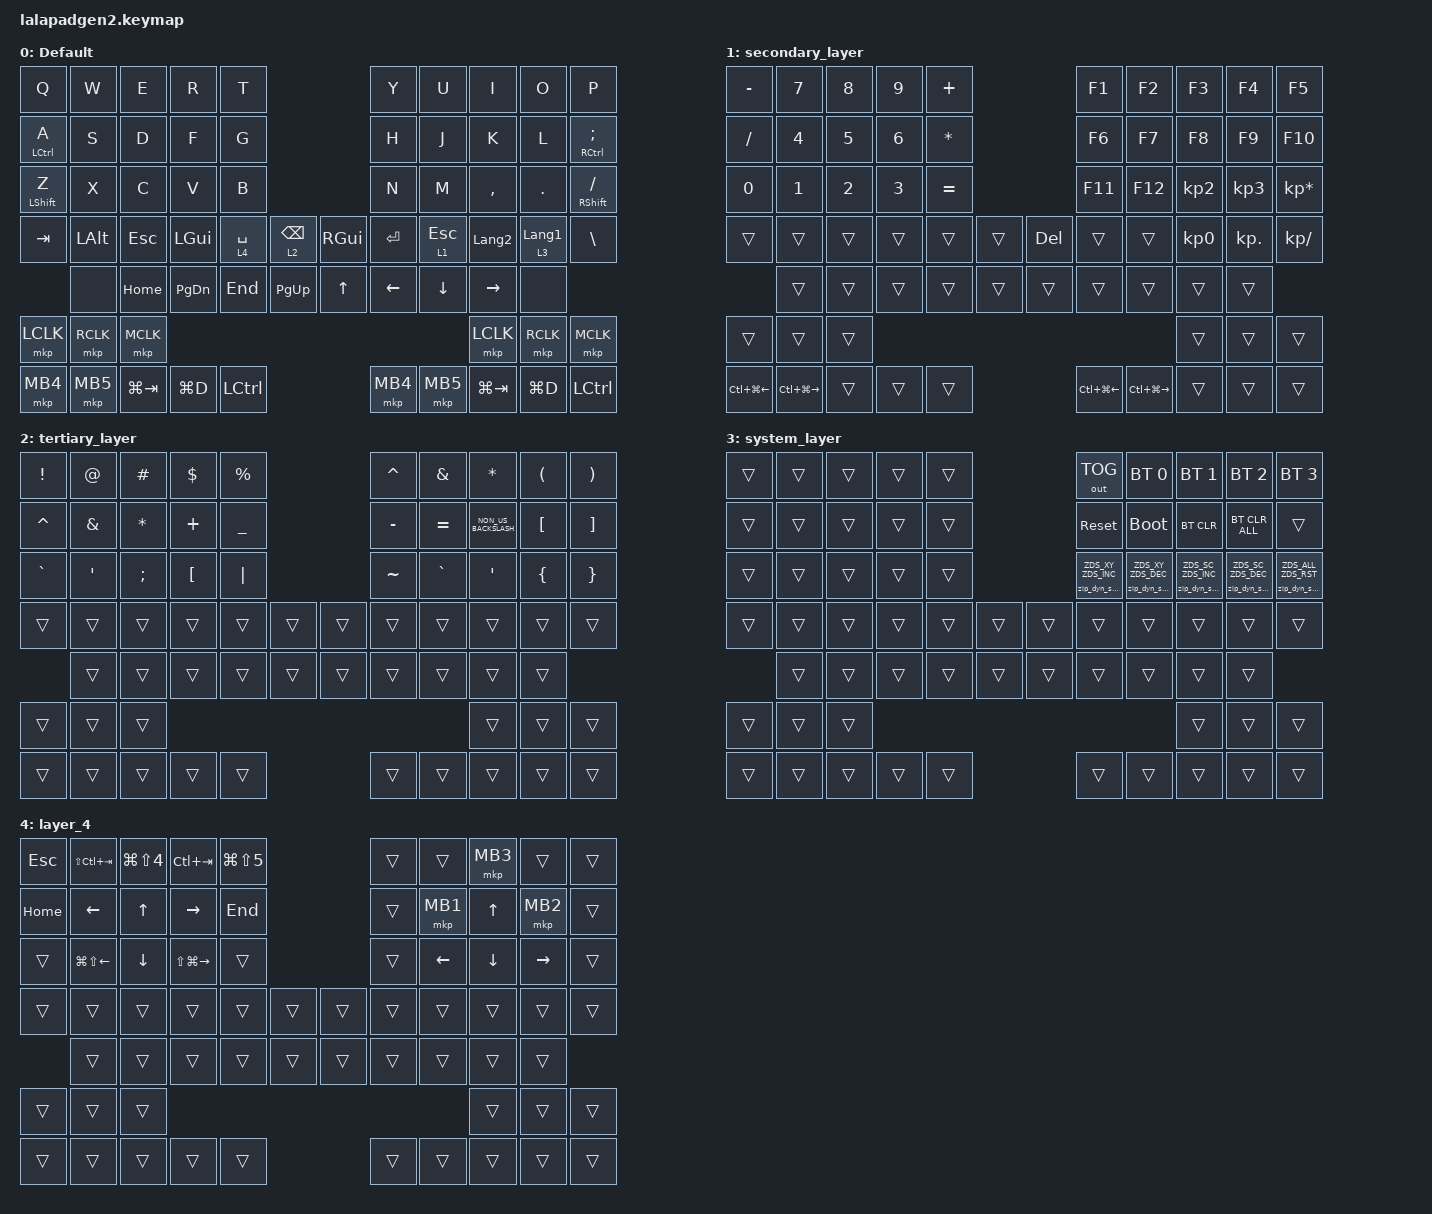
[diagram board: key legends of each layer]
#include <input/processors.dtsi>
#include <dt-bindings/zmk/zip_dynamic_scale.h>
#include <behaviors.dtsi>
#include <dt-bindings/zmk/bt.h>
#include <dt-bindings/zmk/keys.h>
#include <dt-bindings/zmk/outputs.h>
#include <dt-bindings/zmk/pointing.h>

#define DEFAULT_LAYER   0
#define SECONDARY_LAYER 1
#define TERTIARY_LAYER  2
#define SYSTEM_LAYER    3

&mt {
    tapping-term-ms = <300>;
    require-prior-idle-ms = <150>;
    flavor = "tap-preferred";
};

&lt {
    tapping-term-ms = <300>;
    require-prior-idle-ms = <150>;
    flavor = "hold-preferred";
};

/ {
    behaviors {
        zip_dyn_scale: zip_dyn_scale {
            compatible = "zmk,behavior-zip-dynamic-scale";
            #binding-cells = <2>;
        };

        zip_dyn_scale_set: zip_dyn_scale_set {
            compatible = "zmk,behavior-zip-dynamic-scale-set";
            #binding-cells = <2>;
        };

        mt2: mod_tap2 {
            compatible = "zmk,behavior-hold-tap";
            #binding-cells = <2>;
            flavor = "tap-preferred";
            tapping-term-ms = <200>;
            quick-tap-ms = <200>;
            require-prior-idle-ms = <125>;
            bindings = <&kp>, <&kp>;
        };

        tap_dance_layer_1and2: tap_dance_layer_1and2 {
            compatible = "zmk,behavior-tap-dance";
            label = "td_mo12";
            #binding-cells = <0>;
            bindings = <&mo 1>, <&mo 2>;
        };
    };

    combos {
        compatible = "zmk,combos";

        CONBO_ESC {
            bindings = <&kp ESCAPE>;
            key-positions = <0 1>;
        };

        COMBO_TAB {
            bindings = <&kp TAB>;
            key-positions = <11 12>;
        };

        S_TAB {
            bindings = <&kp LS(TAB)>;
            key-positions = <12 13>;
        };

        QT {
            bindings = <&kp SINGLE_QUOTE>;
            key-positions = <17 18>;
        };

        DQ {
            bindings = <&kp DOUBLE_QUOTES>;
            key-positions = <18 19>;
        };
    };

    keymap {
        compatible = "zmk,keymap";

        DEFAULT_LAYER {
            display-name = "Default";
            bindings = <
&kp Q              &kp W         &kp E        &kp R          &kp T                                   &kp Y      &kp U      &kp I           &kp O             &kp P
&mt LCTRL A        &kp S         &kp D        &kp F          &kp G                                   &kp H      &kp J      &kp K           &kp L             &mt RCTRL SEMICOLON
&mt2 LEFT_SHIFT Z  &kp X         &kp C        &kp V          &kp B                                   &kp N      &kp M      &kp COMMA       &kp PERIOD        &mt RIGHT_SHIFT SLASH
&kp TAB            &kp LEFT_ALT  &kp ESC      &kp LEFT_GUI   &lt 4 SPACE  &lt 2 BACKSPACE  &kp RGUI  &kp ENTER  &lt 1 ESC  &kp LANGUAGE_2  &lt 3 LANGUAGE_1  &kp BACKSLASH
                   &none         &kp HOME     &kp PAGE_DOWN  &kp END      &kp PAGE_UP      &kp UP    &kp LEFT   &kp DOWN   &kp RIGHT       &none
&mkp LCLK          &mkp RCLK     &mkp MCLK                                                                                 &mkp LCLK       &mkp RCLK         &mkp MCLK
&mkp MB4           &mkp MB5      &kp LG(TAB)  &kp LG(D)      &kp LCTRL                               &mkp MB4   &mkp MB5   &kp LG(TAB)     &kp LG(D)         &kp LCTRL
            >;
        };

        SECONDARY_LAYER {
            display-name = "secondary_layer";
            bindings = <
&kp MINUS         &kp N7             &kp N8        &kp N9        &kp PLUS                       &kp F1            &kp F2             &kp F3           &kp F4           &kp F5
&kp SLASH         &kp NUMBER_4       &kp N5        &kp NUMBER_6  &kp ASTERISK                   &kp F6            &kp F7             &kp F8           &kp F9           &kp F10
&kp N0            &kp NUMBER_1       &kp NUMBER_2  &kp NUMBER_3  &kp EQUAL                      &kp F11           &kp F12            &kp KP_NUMBER_2  &kp KP_NUMBER_3  &kp KP_ASTERISK
&trans            &trans             &trans        &trans        &trans        &trans  &kp DEL  &trans            &trans             &kp KP_NUMBER_0  &kp KP_DOT       &kp KP_DIVIDE
                  &trans             &trans        &trans        &trans        &trans  &trans   &trans            &trans             &trans           &trans
&trans            &trans             &trans                                                                                          &trans           &trans           &trans
&kp LC(LG(LEFT))  &kp LC(LG(RIGHT))  &trans        &trans        &trans                         &kp LC(LG(LEFT))  &kp LC(LG(RIGHT))  &trans           &trans           &trans
            >;
        };

        TERTIARY_LAYER {
            display-name = "tertiary_layer";
            bindings = <
&kp EXCLAMATION  &kp AT_SIGN    &kp HASH      &kp DOLLAR        &kp PERCENT                  &kp CARET  &kp AMPERSAND  &kp ASTERISK          &kp LEFT_PARENTHESIS  &kp RIGHT_PARENTHESIS
&kp CARET        &kp AMPERSAND  &kp ASTERISK  &kp PLUS          &kp UNDER                    &kp MINUS  &kp EQUAL      &kp NON_US_BACKSLASH  &kp LEFT_BRACKET      &kp RIGHT_BRACKET
&kp GRAVE        &kp SQT        &kp SEMI      &kp LEFT_BRACKET  &kp PIPE                     &kp TILDE  &kp GRAVE      &kp SQT               &kp LEFT_BRACE        &kp RIGHT_BRACE
&trans           &trans         &trans        &trans            &trans       &trans  &trans  &trans     &trans         &trans                &trans                &trans
                 &trans         &trans        &trans            &trans       &trans  &trans  &trans     &trans         &trans                &trans
&trans           &trans         &trans                                                                                 &trans                &trans                &trans
&trans           &trans         &trans        &trans            &trans                       &trans     &trans         &trans                &trans                &trans
            >;
        };

        SYSTEM_LAYER {
            display-name = "system_layer";
            bindings = <
&trans  &trans  &trans  &trans  &trans                  &out OUT_TOG                   &bt BT_SEL 0                   &bt BT_SEL 1                   &bt BT_SEL 2                   &bt BT_SEL 3
&trans  &trans  &trans  &trans  &trans                  &sys_reset                     &bootloader                    &bt BT_CLR                     &bt BT_CLR_ALL                 &trans
&trans  &trans  &trans  &trans  &trans                  &zip_dyn_scale ZDS_XY ZDS_INC  &zip_dyn_scale ZDS_XY ZDS_DEC  &zip_dyn_scale ZDS_SC ZDS_INC  &zip_dyn_scale ZDS_SC ZDS_DEC  &zip_dyn_scale ZDS_ALL ZDS_RST
&trans  &trans  &trans  &trans  &trans  &trans  &trans  &trans                         &trans                         &trans                         &trans                         &trans
        &trans  &trans  &trans  &trans  &trans  &trans  &trans                         &trans                         &trans                         &trans
&trans  &trans  &trans                                                                                                &trans                         &trans                         &trans
&trans  &trans  &trans  &trans  &trans                  &trans                         &trans                         &trans                         &trans                         &trans
            >;
        };

        layer_4 {
            bindings = <
&kp ESC   &kp LS(LC(TAB))         &kp LG(LS(NUMBER_4))  &kp LC(TAB)              &kp LG(LS(N5))                  &trans  &trans          &mkp MB3        &trans           &trans
&kp HOME  &kp LEFT_ARROW          &kp UP_ARROW          &kp RIGHT_ARROW          &kp END                         &trans  &mkp MB1        &kp UP_ARROW    &mkp MB2         &trans
&trans    &kp LG(LS(LEFT_ARROW))  &kp DOWN_ARROW        &kp LS(LG(RIGHT_ARROW))  &trans                          &trans  &kp LEFT_ARROW  &kp DOWN_ARROW  &kp RIGHT_ARROW  &trans
&trans    &trans                  &trans                &trans                   &trans          &trans  &trans  &trans  &trans          &trans          &trans           &trans
          &trans                  &trans                &trans                   &trans          &trans  &trans  &trans  &trans          &trans          &trans
&trans    &trans                  &trans                                                                                                 &trans          &trans           &trans
&trans    &trans                  &trans                &trans                   &trans                          &trans  &trans          &trans          &trans           &trans
            >;
        };
    };

    conditional_layers { compatible = "zmk,conditional-layers"; };
};
